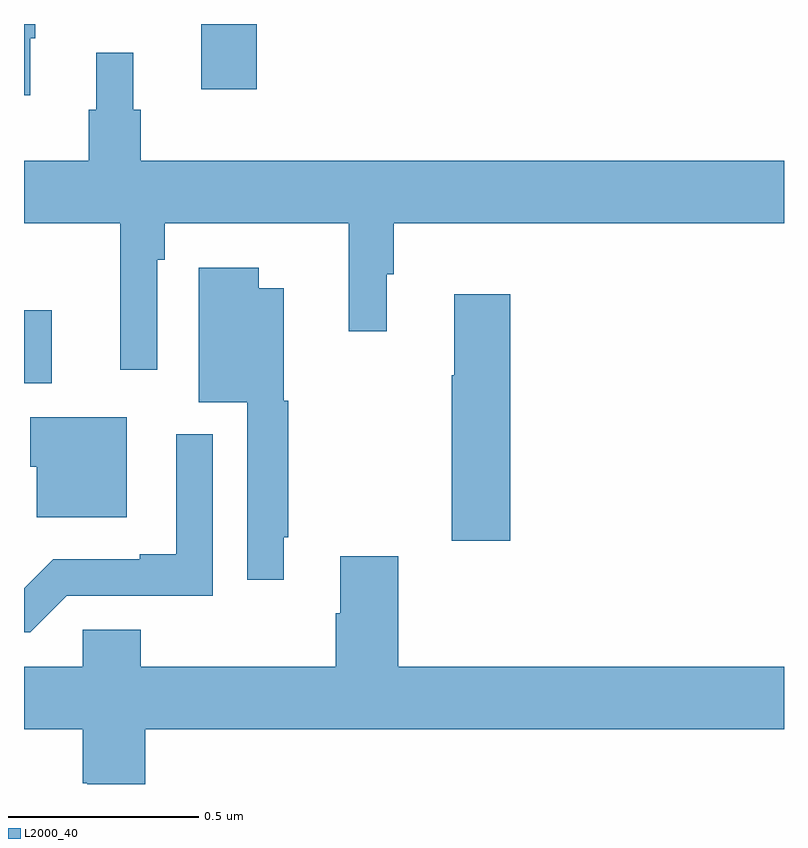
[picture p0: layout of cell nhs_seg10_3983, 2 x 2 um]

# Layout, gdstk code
import gdstk
lib = gdstk.Library(unit=1e-6, precision=1e-09)
def R(c, l, rs):  # rectangles x0, y0, x1, y1
    for r in rs: c.add(gdstk.rectangle(r[:2], r[2:], *l))
def P(c, l, *ps):  # polygons
    for p in ps: c.add(gdstk.Polygon(p, *l))
L2000_40 = (2000, 40)

nhs_seg10_3983 = lib.new_cell('nhs_seg10_3983')
R(nhs_seg10_3983, L2000_40, [(160,1306.554,160.073,1306.747), (160.466,1307.328,160.613,1307.5)])
P(nhs_seg10_3983, L2000_40, [(160.017,1307.462),(160.03,1307.462),(160.03,1307.5),(160,1307.5),(160,1307.312),(160.017,1307.312)],
  [(160.35,1306.88),(160.37,1306.88),(160.37,1306.976),(160.855,1306.976),(160.855,1306.692),(160.954,1306.692),(160.954,1306.842),(160.973,1306.842),(160.973,1306.976),(162,1306.976),(162,1307.14),(160.307,1307.14),(160.307,1307.274),(160.288,1307.274),(160.288,1307.425),(160.19,1307.425),(160.19,1307.274),(160.171,1307.274),(160.171,1307.14),(160,1307.14),(160,1306.976),(160.253,1306.976),(160.253,1306.59),(160.35,1306.59)],
  [(160.684,1306.15),(160.696,1306.15),(160.696,1306.509),(160.684,1306.509),(160.684,1306.804),(160.618,1306.804),(160.618,1306.858),(160.46,1306.858),(160.46,1306.505),(160.587,1306.505),(160.587,1306.038),(160.684,1306.038)],
  [(161.279,1306.789),(161.132,1306.789),(161.132,1306.576),(161.125,1306.576),(161.125,1306.14),(161.279,1306.14)],
  [(160.27,1306.465),(160.016,1306.465),(160.016,1306.335),(160.034,1306.335),(160.034,1306.202),(160.27,1306.202)],
  [(160.113,1305.996),(160.497,1305.996),(160.497,1306.42),(160.4,1306.42),(160.4,1306.105),(160.304,1306.105),(160.304,1306.092),(160.077,1306.092),(160,1306.015),(160,1305.9),(160.017,1305.9)],
  [(160.155,1305.808),(160,1305.808),(160,1305.644),(160.154,1305.644),(160.154,1305.502),(160.166,1305.502),(160.166,1305.5),(160.319,1305.5),(160.319,1305.644),(162,1305.644),(162,1305.808),(160.985,1305.808),(160.985,1306.099),(160.832,1306.099),(160.832,1305.95),(160.82,1305.95),(160.82,1305.808),(160.307,1305.808),(160.307,1305.906),(160.155,1305.906)])

lib.write_gds('nhs_seg10_3983.gds')
